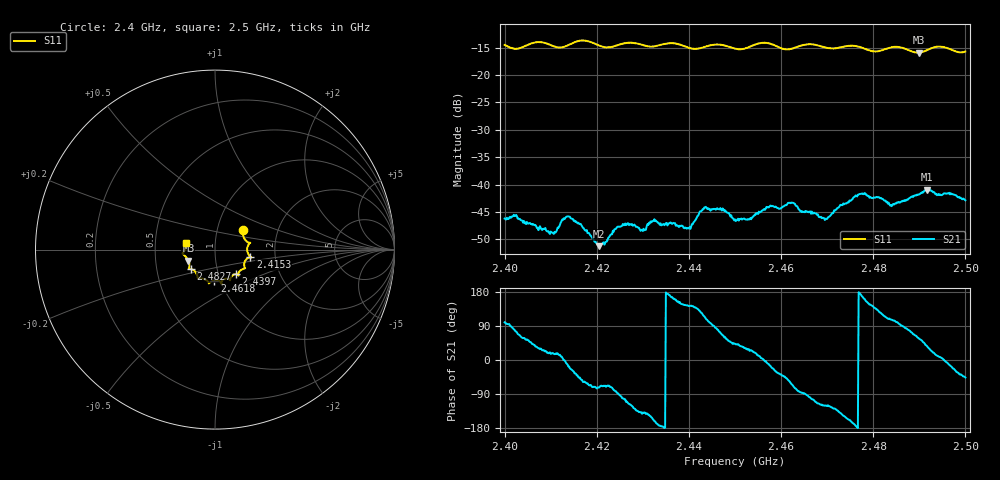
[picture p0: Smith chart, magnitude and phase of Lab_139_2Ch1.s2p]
# Hz S RI R 50
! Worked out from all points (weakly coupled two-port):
!   601 points, 2.4 GHz to 2.5 GHz, reference 50 ohm
!   highest |S21| = -40.95 dB at 2.4917 GHz (marker M1); lowest = -51.3 dB at 2.4205 GHz (marker M2)
!   lowest |S11| = -15.9 dB at 2.4898 GHz (marker M3), VSWR 1.38, Z = 36.9 - j4.64 ohm
!   |S11| at or under -10 dB: start of sweep to end of sweep
!   S12 and S22 are empty: the file has one direction only
!   S11 on the Smith chart (normalised r, x): 2.4 GHz: 1.33, +0.30; 2.4153 GHz: 1.48, -0.12; 2.4397 GHz: 1.21, -0.34; 2.4618 GHz: 0.94, -0.33; 2.4827 GHz: 0.75, -0.17; 2.5 GHz: 0.72, +0.06
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2.4e9  0.1551 0.1072  -0.000809 0.00482  0 0  0 0
2.410167e9  0.1851 0.0246  0.00351 0.00107  0 0  0 0
2.413333e9  0.1831 -0.0197  0.005 -0.000674  0 0  0 0
2.415333e9  0.1968 -0.0398  0.00373 -0.00263  0 0  0 0
2.416667e9  0.2024 -0.0437  0.00261 -0.00337  0 0  0 0
2.4205e9  0.1797 -0.0494  0.000819 -0.00261  0 0  0 0
2.425667e9  0.1663 -0.1003  -0.000866 -0.00428  0 0  0 0
2.43e9  0.1528 -0.1101  -0.00283 -0.00248  0 0  0 0
2.433333e9  0.1299 -0.1338  -0.0044 -0.000681  0 0  0 0
2.439667e9  0.117 -0.1361  -0.00325 0.00234  0 0  0 0
2.4435e9  0.0864 -0.1593  -0.00237 0.0057  0 0  0 0
2.45e9  0.0652 -0.1622  0.00352 0.00326  0 0  0 0
2.456333e9  0.0386 -0.1937  0.00597 -0.000112  0 0  0 0
2.461833e9  -0.00297 -0.1724  0.00378 -0.00567  0 0  0 0
2.466667e9  -0.0343 -0.1882  -0.0013 -0.00551  0 0  0 0
2.47e9  -0.0476 -0.1706  -0.00254 -0.00413  0 0  0 0
2.477167e9  -0.0974 -0.1517  -0.00818 0.000782  0 0  0 0
2.482667e9  -0.135 -0.1086  -0.00285 0.00655  0 0  0 0
2.483333e9  -0.1399 -0.1081  -0.00215 0.0065  0 0  0 0
2.489833e9  -0.1481 -0.0614  0.00431 0.00688  0 0  0 0
2.491667e9  -0.1648 -0.0375  0.00721 0.00533  0 0  0 0
2.5e9  -0.1595 0.0389  0.00495 -0.0052  0 0  0 0
